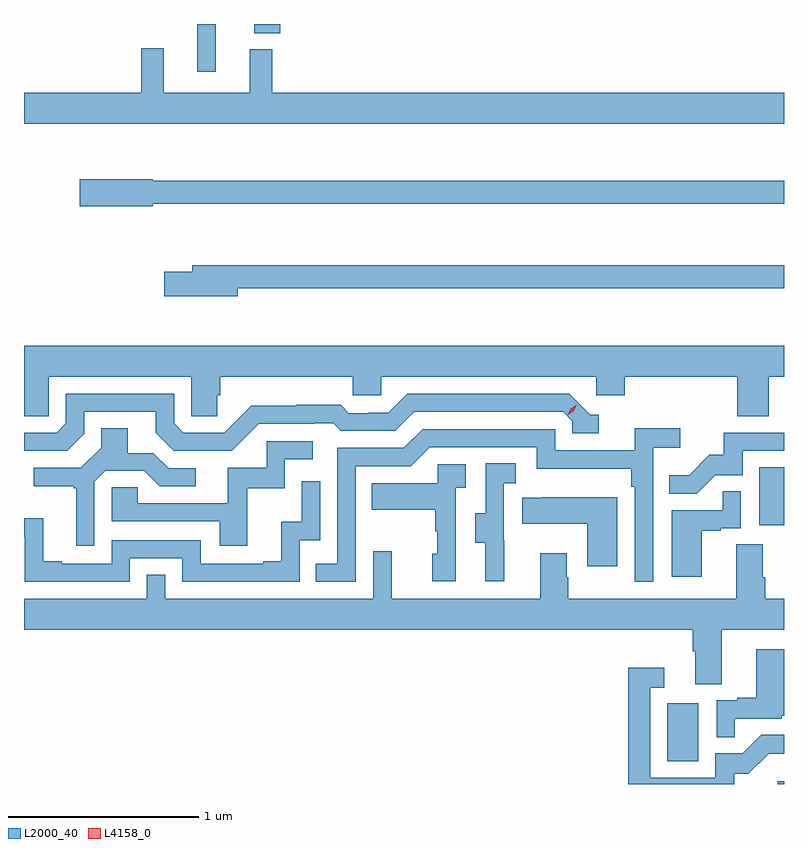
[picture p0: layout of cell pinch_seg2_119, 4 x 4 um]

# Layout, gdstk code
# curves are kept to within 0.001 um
import gdstk
lib = gdstk.Library(unit=1e-6, precision=1e-09)
def R(c, l, rs):  # rectangles x0, y0, x1, y1
    for r in rs: c.add(gdstk.rectangle(r[:2], r[2:], *l))
def P(c, l, *ps):  # polygons
    for p in ps: c.add(gdstk.Polygon(p, *l))
L2000_40 = (2000, 40)
L4158_0 = (4158, 0)

pinch_seg2_119 = lib.new_cell('pinch_seg2_119')
R(pinch_seg2_119, L2000_40, [(1060.785,624.181,1060.817,624.196), (1060.202,624.3,1060.366,624.607), (1060.688,625.542,1060.817,625.849), (1057.73,627.93,1057.827,628.181), (1058.03,628.133,1058.165,628.181)])
P(pinch_seg2_119, L2000_40, [(1060.817,627.82),(1058.123,627.82),(1058.123,628.048),(1058.006,628.048),(1058.006,627.82),(1057.553,627.82),(1057.553,628.054),(1057.435,628.054),(1057.435,627.82),(1056.817,627.82),(1056.817,627.656),(1060.817,627.656)],
  [(1057.494,627.234),(1060.817,627.234),(1060.817,627.355),(1057.494,627.355),(1057.494,627.363),(1057.11,627.363),(1057.11,627.221),(1057.494,627.221)],
  [(1057.942,626.79),(1060.817,626.79),(1060.817,626.911),(1057.703,626.911),(1057.703,626.877),(1057.554,626.877),(1057.554,626.747),(1057.942,626.747)],
  [(1056.948,626.324),(1057.698,626.324),(1057.698,626.116),(1057.835,626.116),(1057.835,626.226),(1057.85,626.226),(1057.85,626.324),(1058.547,626.324),(1058.547,626.226),(1058.697,626.226),(1058.697,626.324),(1059.828,626.324),(1059.828,626.226),(1059.98,626.226),(1059.98,626.324),(1060.571,626.324),(1060.571,626.116),(1060.736,626.116),(1060.736,626.324),(1060.817,626.324),(1060.817,626.488),(1056.817,626.488),(1056.817,626.116),(1056.948,626.116)],
  [(1056.828,625.935),(1057.044,625.935),(1057.134,626.025),(1057.134,626.139),(1057.511,626.139),(1057.511,626.029),(1057.605,625.935),(1057.911,625.935),(1058.052,626.076),(1058.345,626.076),(1058.345,626.079),(1058.444,626.079),(1058.483,626.04),(1058.772,626.04),(1058.871,626.139),(1059.654,626.139),(1059.702,626.091),(1059.702,626.028),(1059.841,626.028),(1059.841,626.124),(1059.798,626.124),(1059.687,626.235),(1058.834,626.235),(1058.735,626.136),(1058.628,626.136),(1058.628,626.133),(1058.525,626.133),(1058.483,626.176),(1058.25,626.176),(1058.25,626.173),(1058.014,626.173),(1057.872,626.031),(1057.656,626.031),(1057.608,626.079),(1057.608,626.235),(1057.038,626.235),(1057.038,626.079),(1056.99,626.031),(1056.817,626.031),(1056.817,625.934)],
  [(1058.562,625.854),(1058.853,625.854),(1058.952,625.953),(1059.516,625.953),(1059.516,625.841),(1060.012,625.841),(1060.012,625.745),(1060.032,625.745),(1060.032,625.245),(1060.128,625.245),(1060.128,625.952),(1060.27,625.952),(1060.27,626.054),(1060.031,626.054),(1060.031,625.938),(1059.612,625.938),(1059.612,626.049),(1058.915,626.049),(1058.816,625.95),(1058.466,625.95),(1058.466,625.341),(1058.353,625.341),(1058.353,625.245),(1058.562,625.245)],
  [(1057.188,625.773),(1057.245,625.83),(1057.451,625.83),(1057.532,625.749),(1057.72,625.749),(1057.72,625.842),(1057.578,625.842),(1057.498,625.922),(1057.363,625.922),(1057.363,626.054),(1057.223,626.054),(1057.223,625.952),(1057.116,625.845),(1056.867,625.845),(1056.867,625.748),(1057.08,625.748),(1057.08,625.737),(1057.091,625.737),(1057.091,625.434),(1057.188,625.434)],
  [(1060.455,625.806),(1060.599,625.806),(1060.599,625.935),(1060.817,625.935),(1060.817,626.031),(1060.501,626.031),(1060.501,625.914),(1060.424,625.914),(1060.317,625.807),(1060.213,625.807),(1060.213,625.708),(1060.357,625.708)],
  [(1057.991,625.737),(1058.19,625.737),(1058.19,625.89),(1058.338,625.89),(1058.338,625.986),(1058.094,625.986),(1058.094,625.845),(1057.889,625.845),(1057.889,625.659),(1057.415,625.659),(1057.415,625.743),(1057.278,625.743),(1057.278,625.563),(1057.847,625.563),(1057.847,625.434),(1057.991,625.434)],
  [(1059.344,625.461),(1059.342,625.461),(1059.342,625.765),(1059.406,625.765),(1059.406,625.868),(1059.246,625.868),(1059.246,625.605),(1059.191,625.605),(1059.191,625.45),(1059.245,625.45),(1059.245,625.248),(1059.344,625.248)],
  [(1059.09,625.739),(1059.142,625.739),(1059.142,625.863),(1058.994,625.863),(1058.994,625.765),(1058.647,625.765),(1058.647,625.625),(1058.982,625.625),(1058.982,625.511),(1058.992,625.511),(1058.992,625.392),(1058.966,625.392),(1058.966,625.248),(1059.09,625.248)],
  [(1057.374,625.368),(1057.65,625.368),(1057.65,625.245),(1058.268,625.245),(1058.268,625.464),(1058.376,625.464),(1058.376,625.774),(1058.28,625.774),(1058.28,625.562),(1058.171,625.562),(1058.171,625.354),(1058.075,625.354),(1058.075,625.341),(1057.746,625.341),(1057.746,625.464),(1057.278,625.464),(1057.278,625.341),(1057.015,625.341),(1057.015,625.354),(1056.919,625.354),(1056.919,625.579),(1056.817,625.579),(1056.817,625.481),(1056.822,625.481),(1056.822,625.245),(1057.374,625.245)],
  [(1060.384,625.515),(1060.484,625.515),(1060.484,625.527),(1060.59,625.527),(1060.59,625.721),(1060.495,625.721),(1060.495,625.623),(1060.226,625.623),(1060.226,625.272),(1060.384,625.272)],
  [(1059.94,625.69),(1059.547,625.69),(1059.547,625.687),(1059.439,625.687),(1059.439,625.55),(1059.782,625.55),(1059.782,625.326),(1059.94,625.326)],
  [(1060.489,624.992),(1060.817,624.992),(1060.817,625.156),(1060.718,625.156),(1060.718,625.268),(1060.705,625.268),(1060.705,625.442),(1060.565,625.442),(1060.565,625.156),(1059.681,625.156),(1059.681,625.268),(1059.673,625.268),(1059.673,625.396),(1059.533,625.396),(1059.533,625.156),(1058.753,625.156),(1058.753,625.405),(1058.655,625.405),(1058.655,625.156),(1057.56,625.156),(1057.56,625.283),(1057.464,625.283),(1057.464,625.156),(1056.817,625.156),(1056.817,624.992),(1060.337,624.992),(1060.337,624.88),(1060.349,624.88),(1060.349,624.706),(1060.489,624.706)],
  [(1060.559,624.525),(1060.806,624.525),(1060.806,624.54),(1060.817,624.54),(1060.817,624.889),(1060.67,624.889),(1060.67,624.634),(1060.571,624.634),(1060.571,624.621),(1060.464,624.621),(1060.464,624.427),(1060.559,624.427)],
  [(1060.554,624.234),(1060.63,624.234),(1060.737,624.341),(1060.817,624.341),(1060.817,624.44),(1060.697,624.44),(1060.599,624.342),(1060.455,624.342),(1060.455,624.213),(1060.113,624.213),(1060.113,624.687),(1060.186,624.687),(1060.186,624.793),(1059.997,624.793),(1059.997,624.181),(1060.554,624.181)])
P(pinch_seg2_119, L4158_0, [(1059.678,626.124),(1059.678,626.125),(1059.694,626.157),(1059.725,626.177),(1059.726,626.177),(1059.726,626.177),(1059.709,626.144),(1059.678,626.124)])

lib.write_gds('pinch_seg2_119.gds')
